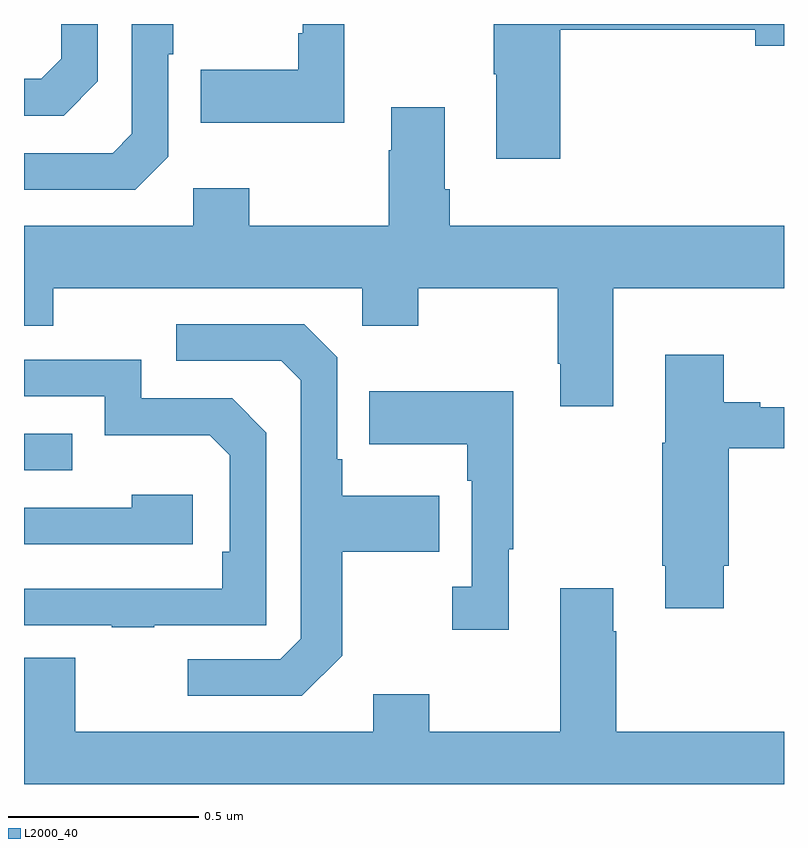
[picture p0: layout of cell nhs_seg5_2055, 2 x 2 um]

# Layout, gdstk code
import gdstk
lib = gdstk.Library(unit=1e-6, precision=1e-09)
def R(c, l, rs):  # rectangles x0, y0, x1, y1
    for r in rs: c.add(gdstk.rectangle(r[:2], r[2:], *l))
def P(c, l, *ps):  # polygons
    for p in ps: c.add(gdstk.Polygon(p, *l))
L2000_40 = (2000, 40)

nhs_seg5_2055 = lib.new_cell('nhs_seg5_2055')
R(nhs_seg5_2055, L2000_40, [(139,845.625,139.127,845.721)])
P(nhs_seg5_2055, L2000_40, [(140.411,846.784),(140.924,846.784),(140.924,846.742),(141,846.742),(141,846.799),(140.236,846.799),(140.236,846.667),(140.243,846.667),(140.243,846.444),(140.411,846.444)],
  [(139.38,846.45),(139.38,846.719),(139.393,846.719),(139.393,846.799),(139.284,846.799),(139.284,846.51),(139.233,846.459),(139,846.459),(139,846.363),(139.293,846.363)],
  [(139.843,846.799),(139.734,846.799),(139.734,846.775),(139.722,846.775),(139.722,846.679),(139.465,846.679),(139.465,846.539),(139.843,846.539)],
  [(139.194,846.648),(139.194,846.799),(139.098,846.799),(139.098,846.708),(139.045,846.655),(139,846.655),(139,846.558),(139.104,846.558)],
  [(140.12,846.364),(140.107,846.364),(140.107,846.58),(139.967,846.58),(139.967,846.467),(139.96,846.467),(139.96,846.268),(139.593,846.268),(139.593,846.367),(139.446,846.367),(139.446,846.268),(139,846.268),(139,846.005),(139.077,846.005),(139.077,846.104),(139.89,846.104),(139.89,846.005),(140.037,846.005),(140.037,846.104),(140.404,846.104),(140.404,845.905),(140.411,845.905),(140.411,845.793),(140.551,845.793),(140.551,846.104),(141,846.104),(141,846.268),(140.12,846.268)],
  [(139.837,845.137),(139.837,845.41),(140.093,845.41),(140.093,845.557),(139.837,845.557),(139.837,845.653),(139.824,845.653),(139.824,845.922),(139.737,846.009),(139.401,846.009),(139.401,845.913),(139.677,845.913),(139.728,845.862),(139.728,845.181),(139.674,845.127),(139.431,845.127),(139.431,845.031),(139.731,845.031)],
  [(140.842,845.374),(140.855,845.374),(140.855,845.682),(141,845.682),(141,845.79),(140.938,845.79),(140.938,845.803),(140.842,845.803),(140.842,845.929),(140.687,845.929),(140.687,845.697),(140.68,845.697),(140.68,845.374),(140.687,845.374),(140.687,845.262),(140.842,845.262)],
  [(139.343,845.217),(139.638,845.217),(139.638,845.724),(139.548,845.814),(139.308,845.814),(139.308,845.916),(139,845.916),(139,845.82),(139.212,845.82),(139.212,845.717),(139.489,845.717),(139.542,845.664),(139.542,845.41),(139.522,845.41),(139.522,845.313),(139,845.313),(139,845.217),(139.231,845.217),(139.231,845.212),(139.343,845.212)],
  [(140.275,845.417),(140.287,845.417),(140.287,845.833),(139.909,845.833),(139.909,845.693),(140.166,845.693),(140.166,845.597),(140.178,845.597),(140.178,845.318),(140.127,845.318),(140.127,845.205),(140.275,845.205)],
  [(139.444,845.56),(139.283,845.56),(139.283,845.526),(139,845.526),(139,845.43),(139.444,845.43)],
  [(141,844.936),(140.559,844.936),(140.559,845.201),(140.551,845.201),(140.551,845.314),(140.411,845.314),(140.411,844.936),(140.067,844.936),(140.067,845.035),(139.919,845.035),(139.919,844.936),(139.135,844.936),(139.135,845.131),(139,845.131),(139,844.799),(141,844.799)])

lib.write_gds('nhs_seg5_2055.gds')
